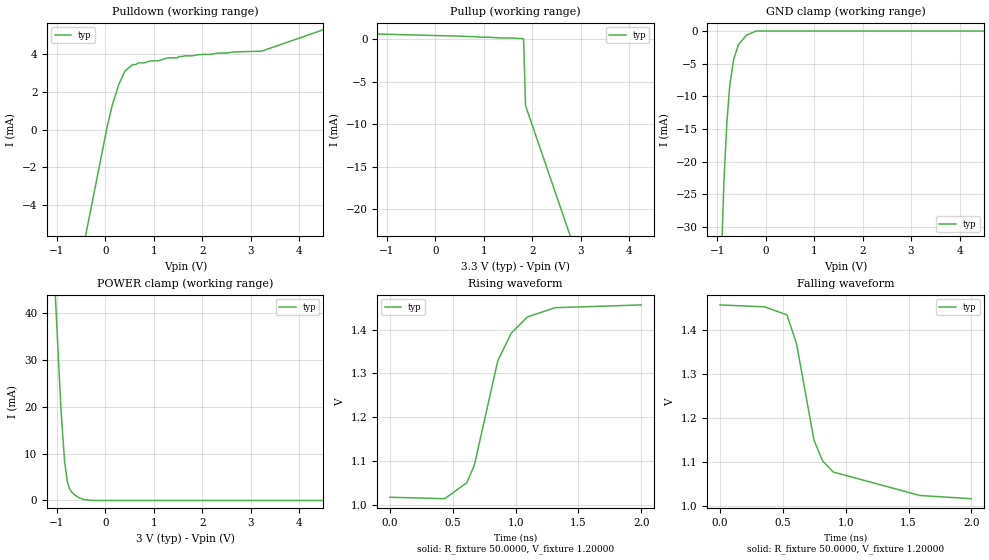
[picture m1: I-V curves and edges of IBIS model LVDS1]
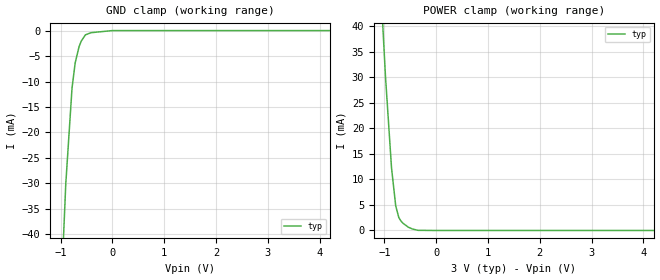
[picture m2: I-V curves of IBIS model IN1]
|   This file is an IBIS representation of the   |
|   analog devices   |
|   ad9289 all speed grades
[IBIS Ver] 3.2
[File Name] ad9289bbc.ibs
[File Rev] 3.1
[Source] Measured and created by ADI
[Date] 10/2004
[Notes]
[Disclaimer]
|   This IBIS model is provided "AS IS, WHERE IS, AND WITH NO
|   WARRANTY OF ANY KIND EITHER EXPRESSED OR IMPLIED, INCLUDING
|   BUT NOT LIMITED TO ANY IMPLIED WARRANTIES OF MECHANTABILITY
|   AND FITNESS FOR A PARTICULAR PURPOSE."
|   In no event will ADI be liable for special, collateral,
|   incidental, or consequential damages in connection with or
|   arising out of the use of this IBIS model. ADI reserves the
|   right to make changes to the products and IBIS models without
|   prior notice.
[Copyright]   Copyright (C)2004 analog devices, All Rights Reserved
[Component] AD9289
[Manufacturer] Analog Devices
[Package]
| variable   typ   min   max
R_pkg  0.010ohms 0.009ohms 0.011ohms
L_pkg  1.933nH   1.900nH   1.966nH
C_pkg  1.000pF   0.900pF   1.100pF
[Pin] signal_name  model_name  R_pin  L_pin C_pin
D8   CLK-   IN1   .101   1.60n   0.51p
C8   CLK+   IN1   .105   1.71n   0.46p
F3   CML   NC   .130   2.11n   0.51p
B1   D1+A   LVDS1   .115   2.18n   0.51p
B3   D1+B   LVDS1   .142   2.38n   0.49p
B5   D1+C   LVDS1   .117   1.77n   0.42p
B7   D1+D   LVDS1   .139   2.68n   0.64p
A1   D1-A   LVDS1   .115   1.99n   0.49p
A3   D1-B   LVDS1   .125   1.96n   0.41p
A5   D1-C   LVDS1   .125   2.04n   0.36p
A7   D1-D   LVDS1   .139   2.77n   0.63p
B2   D2+A   LVDS1   .106   1.65n   0.42p
B4   D2+B   LVDS1   .130   2.12n   0.45p
B6   D2+C   LVDS1   .122   1.81n   0.44p
B8   D2+D   LVDS1   .116   2.00n   0.50p
A2   D2-A   LVDS1   .111   1.74n   0.43p
A4   D2-B   LVDS1   .116   1.78n   0.35p
A6   D2-C   LVDS1   .128   2.00n   0.39p
A8   D2-D   LVDS1   .125   2.33n   0.61p
C4   DC0+   LVDS1   .122   1.96n   0.51p
C5   DCO-   LVDS1   .132   2.30n   0.60p
H8   DTP   NC   .130   2.09n   0.41p
H1   LVDSBIAS   NC   .130   2.11n   0.36p
C2   FCO-   LVDS1   .111   1.86n   0.50p
C1   FCO+   LVDS1   .100   1.60n   0.46p
D2   DNC   NC   .111   1.96n   0.54p
D1   DNC   NC   .100   1.62n   0.40p
E3   AGND   GND   .160   3.21n   0.67p
G6   AGND   GND   .120   1.80n   0.46p
F6   AGND   GND   .133   2.15n   0.60p
E6   AVDD   POWER   .143   2.48n   0.69p
E8   PDWN   IN1   .110   1.84n   0.43p
D4   LOCK-   NC   .142   2.63n   0.58p
G4   REFB_A   NC   .114   1.75n   0.42p
G5   REFB_B   NC   .115   1.76n   0.40p
F4   REFT_A   NC   .124   2.04n   0.39p
F5   REFT_B   NC   .127   2.11n   0.56p
C7   DFS   IN1   .128   2.47n   0.67p
D7   AGND   GND   .116   2.06n   0.50p
E7   AGND   GND   .104   1.69n   0.54p
H4   SENSE   NC   .115   1.73n   0.43p
G3   SHARED_REF   NC   .120   1.82n   0.46p
D5   AGND   GND   .136   2.36n   0.66p
E2   AGND   GND   .116   1.94n   0.50p
E1   AGND   GND   .105   1.66n   0.48p
G1   VIN+A   NC   .107   1.88n   0.35p
H2   VIN+B   NC   .144   2.91n   0.64p
H7   VIN+C   NC   .137   2.85n   0.64p
G8   VIN+D   NC   .105   1.84n   0.35p
F1   VIN-A   NC   .108   1.86n   0.40p
H3   VIN-B   NC   .144   2.86n   0.69p
H6   VIN-C   NC   .138   2.77n   0.67p
F8   VIN-D   NC   .106   1.87n   0.40p
H5   VREF   NC   .114   1.84n   0.35p
| Models and submodels in the file (2): LVDS1 (Output), IN1 (Input)
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[Model] LVDS1
Model_type Output
Vref=1.20
Rref=50.0000ohms
Cref=2.00000pF
Vmeas=1.20000V
C_comp 3.00000pF 3.00000pF 3.00000pF
| variable typ   min   max
[Voltage Range]   3.00000V   NA   NA
[POWER Clamp Reference] 3.0000V   NA   NA
[Pullup Reference]   3.30000V   NA   NA
[Pulldown Reference]   0.00000V   NA   NA
[GND Clamp Reference]   0.00000V   NA   NA
[Temperature Range] 25   NA   NA
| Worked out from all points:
|   slope of the pulldown table from 0 to 0.495 V, typ, clamps not added: 136 ohm
|   slope of the pullup table from 0 to 0.495 V, typ, clamps not added: 6.73 kohm
|   GND clamp passes 1 mA (typ) near -0.44 V on its own axis
|   POWER clamp passes 1 mA (typ) near -0.61 V on its own axis
|   falling waveform, R_fixture 50.0000, V_fixture 1.20000: 20-80 % time 204ps typ, NA min, NA max; typ from 1.46 V to 1.02 V
|   rising waveform, R_fixture 50.0000, V_fixture 1.20000: 20-80 % time 242ps typ, NA min, NA max; typ from 1.02 V to 1.46 V
[GND Clamp]
-3.6V     -853.2mA   NA         NA
-1.002V   -55.62mA   NA         NA
-861mV    -23.26mA   NA         NA
-800.3mV  -14.15mA   NA         NA
-739.5mV  -8.284mA   NA         NA
-658.8mV  -4.355mA   NA         NA
-562mV    -2.111mA   NA         NA
-400.5mV  -673.6uA   NA         NA
-200.3mV  0A         NA         NA
7.2V      0A         NA         NA
[Pulldown]
-3.6V     -46.98mA   NA         NA
-3V       -39.2mA    NA         NA
0V        -330.5uA   NA         NA
41.12mV   202.3uA    NA         NA
142.6mV   1.306mA    NA         NA
279.2mV   2.408mA    NA         NA
400.5mV   3.101mA    NA         NA
562mV     3.452mA    NA         NA
1.639V    3.916mA    NA         NA
3.222V    4.163mA    NA         NA
6V        6.645mA    NA         NA
7.2V      7.717mA    NA         NA
[Pullup]
-3.9V     1.014mA    NA         NA
478mV     378.9uA    NA         NA
1.817V    70.54uA    NA         NA
1.858V    -7.795mA   NA         NA
2.419V    -17.12mA   NA         NA
6.3V      -81.58mA   NA         NA
6.9V      -91.54mA   NA         NA
[POWER Clamp]
-3.9V     644.2mA    NA         NA
-1.059V   49.38mA    NA         NA
-1.019V   40.94mA    NA         NA
-917.8mV  19.79mA    NA         NA
-842.1mV  8.367mA    NA         NA
-781.5mV  3.874mA    NA         NA
-741mV    2.568mA    NA         NA
-700.5mV  1.842mA    NA         NA
-619.6mV  1.091mA    NA         NA
-442.2mV  175.5uA    NA         NA
-221.1mV  0A         NA         NA
6.9V      0A         NA         NA
[Falling Waveform]
R_fixture = 50.0000
V_fixture = 1.20000
0s        1.456V     NA         NA
354ps     1.452V     NA         NA
532ps     1.434V     NA         NA
608ps     1.369V     NA         NA
748ps     1.15V      NA         NA
816ps     1.103V     NA         NA
902ps     1.078V     NA         NA
1.59ns    1.025V     NA         NA
1.998ns   1.017V     NA         NA
[Rising Waveform]
R_fixture = 50.0000
V_fixture = 1.20000
0s        1.017V     NA         NA
436ps     1.014V     NA         NA
612ps     1.05V      NA         NA
672ps     1.091V     NA         NA
858ps     1.328V     NA         NA
964ps     1.391V     NA         NA
1.092ns   1.428V     NA         NA
1.314ns   1.45V      NA         NA
1.998ns   1.456V     NA         NA
[Ramp]
| variable typ min max
dV/dt_r 263.260m/237.531p   NA   NA
dV/dt_f 263.260m/205.202p   NA   NA
R_load = 50.0000Ohms
[Model] IN1
Model_type Input
Vinl = 800.000mV
Vinh = 2.00000V
C_comp 2.00000pF 2.00000pF 2.00000pF
| variable typ   min   max
[Voltage Range]   3.00000V  NA   NA
[POWER Clamp Reference] 3.00000V  NA   NA
[GND Clamp Reference]   0.00000V  NA   NA
[Temperature Range] 25   NA   NA
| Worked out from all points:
|   GND clamp passes 1 mA (typ) near -0.53 V on its own axis
|   POWER clamp passes 1 mA (typ) near -0.59 V on its own axis
[GND Clamp]
-3.3V     -755.8mA   NA         NA
-1.043V   -64.36mA   NA         NA
-901.3mV  -30.19mA   NA         NA
-780.3mV  -11.32mA   NA         NA
-719.5mV  -6.347mA   NA         NA
-643.7mV  -3.141mA   NA         NA
-603.1mV  -2.086mA   NA         NA
-522.1mV  -838.9uA   NA         NA
-417.7mV  -420.5uA   NA         NA
234.8uV   0A         NA         NA
6.6V      0A         NA         NA
[POWER Clamp]
-3.3V     474.5mA    NA         NA
-1.039V   41.78mA    NA         NA
-978.6mV  30.15mA    NA         NA
-862.4mV  12.31mA    NA         NA
-781.6mV  4.835mA    NA         NA
-721.2mV  2.525mA    NA         NA
-680.6mV  1.855mA    NA         NA
-538.7mV  651.7uA    NA         NA
-457.7mV  286.8uA    NA         NA
-349.1mV  25.57uA    NA         NA
-65.73mV  0A         NA         NA
6.6V      0A         NA         NA
